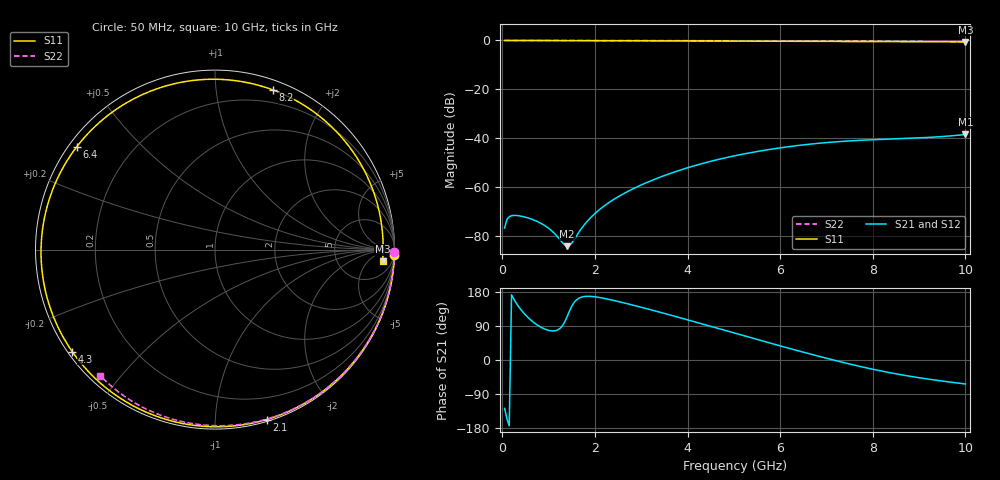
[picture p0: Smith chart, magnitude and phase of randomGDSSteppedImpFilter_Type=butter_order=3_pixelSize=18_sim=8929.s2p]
! freq	dB(S11)	phase(S11)	dB(S12)	phase(S12)
!  dB(S21)	phase(S21)	dB(S22)	phase(S22)
!S-par simulation data
#  GHz  S  DB  R 50
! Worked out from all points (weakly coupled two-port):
!   200 points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, 50 MHz to 10 GHz, reference 50 ohm
!   highest |S21| = -38.54 dB at 10 GHz (marker M1); lowest = -84.3 dB at 1.4 GHz (marker M2)
!   lowest |S11| = -0.6 dB at 10 GHz (marker M3), VSWR 30.23, Z = 714 - j754 ohm
!   |S11| at or under -10 dB: nowhere
!   |S22| runs from -0.4 to 0.0 dB; largest |S21 - S12| = 0
!   S11 on the Smith chart (normalised r, x): 50 MHz: 0, -64; 2.1 GHz: 0.01, -1.35; 4.3 GHz: 0.01, -0.32; 6.4 GHz: 0.02, +0.33; 8.2 GHz: 0.08, +1.42; 10 GHz: 14, -15
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0.05  -0.00 -1.8  -76.90 -127.8  -76.90 -127.8  -0.00 -0.8
0.1  -0.00 -3.6  -73.34 -154.9  -73.34 -154.9  -0.00 -1.5
0.15  -0.00 -5.4  -72.23 -173.6  -72.23 -173.6  -0.00 -2.3
0.35  -0.01 -12.6  -71.83 141.3  -71.83 141.3  -0.00 -5.4
0.8  -0.03 -28.5  -74.62 88.9  -74.62 88.9  -0.01 -12.2
1.2  -0.05 -42.5  -80.63 79.6  -80.63 79.6  -0.02 -18.2
1.4  -0.06 -49.4  -84.32 114.5  -84.32 114.5  -0.03 -21.2
1.6  -0.07 -56.3  -80.17 158.4  -80.17 158.4  -0.03 -24.2
1.75  -0.08 -61.4  -76.05 167.1  -76.05 167.1  -0.03 -26.4
2.1  -0.09 -73.1  -69.29 164.9  -69.29 164.9  -0.04 -31.5
2.75  -0.12 -94.6  -61.49 147.0  -61.49 147.0  -0.05 -41.0
3.4  -0.15 -115.6  -56.08 126.2  -56.08 126.2  -0.07 -50.2
4.3  -0.20 -144.4  -50.54 95.7  -50.54 95.7  -0.09 -62.7
5.05  -0.25 -169.0  -47.14 69.6  -47.14 69.6  -0.11 -72.7
5.75  -0.30 167.0  -44.73 45.6  -44.73 45.6  -0.14 -81.8
6.4  -0.35 143.3  -43.02 23.9  -43.02 23.9  -0.17 -90.0
6.7  -0.38 131.9  -42.39 14.2  -42.39 14.2  -0.18 -93.7
7.5  -0.44 99.7  -41.17 -10.6  -41.17 -10.6  -0.23 -103.4
8.2  -0.48 70.1  -40.54 -29.4  -40.54 -29.4  -0.28 -111.7
8.35  -0.49 63.6  -40.43 -33.1  -40.43 -33.1  -0.29 -113.4
9.2  -0.53 27.6  -39.74 -50.5  -39.74 -50.5  -0.36 -123.2
10  -0.57 -4.0  -38.54 -63.3  -38.54 -63.3  -0.45 -132.4
